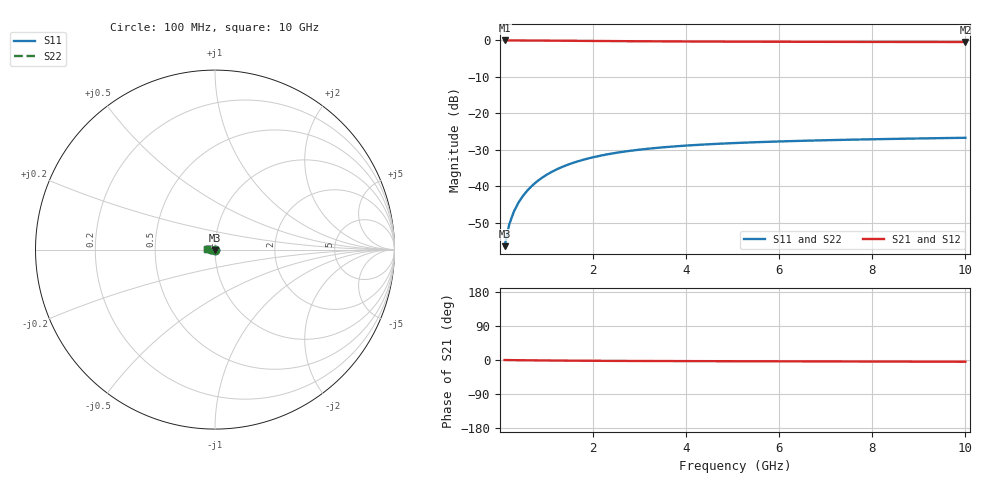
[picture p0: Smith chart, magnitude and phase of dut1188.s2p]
! Touchstone file exported from HFSS 2024.1.0
!  File:  C:/UserFiles/LocalFiles/RDL_TSV_Batchsim/temp_TSV1_1188_1780075376.aedt
!  Generated:  01:29:43 AM May 30, 2026
!  Design:  TSV1
!  Project:  temp_TSV1_1188_1780075376
!  Setup:  Setup1
!  Solution:  Sweep
! Variables:
!  dtsv = 12.54um
!  hbump = 3um
!  htsv = 69.47um
!  lrdl = 252.1521522um
!  p = 40
!  p1 = 57.74um
!  t = 500um
!  trdl = 3um
!  wrdl = 24.89489489um
# GHz S MA R 50.000000
! Terminal data exported
! Port[1] = TSV22_T1
! Port[2] = TSV22_T2
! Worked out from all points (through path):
!   100 points, 100 MHz to 10 GHz, reference 50 ohm
!   highest |S21| = 0.00 dB at 100 MHz (marker M1); lowest = -0.4 dB at 10 GHz (marker M2)
!   lowest |S11| = -56.4 dB at 100 MHz (marker M3), VSWR 1.00, Z = 50 - j0.151 ohm
!   |S11| at or under -10 dB: start of sweep to end of sweep
!   |S22| runs from -56.4 to -26.7 dB; largest |S21 - S12| = 5.7e-15
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0.1  0.001515 -89.0  0.9999 -0.1  0.9999 -0.1  0.001515 -89.0
! Gamma 0 0 0 0
! Port Impedance 50 0 50 0
0.2  0.003024 -92.7  0.9997 -0.3  0.9997 -0.3  0.003024 -92.7
0.3  0.004528 -95.3  0.9994 -0.4  0.9994 -0.4  0.004528 -95.3
0.4  0.006018 -97.7  0.999 -0.5  0.999 -0.5  0.006018 -97.7
0.5  0.007489 -100.0  0.9984 -0.7  0.9984 -0.7  0.007489 -100.0
0.6  0.008935 -102.2  0.9978 -0.8  0.9978 -0.8  0.008935 -102.2
0.7  0.01035 -104.4  0.9972 -0.9  0.9972 -0.9  0.01035 -104.4
0.8  0.01173 -106.5  0.9964 -1.0  0.9964 -1.0  0.01173 -106.5
0.9  0.01308 -108.6  0.9956 -1.1  0.9956 -1.1  0.01308 -108.6
1.1  0.01564 -112.6  0.9938 -1.4  0.9938 -1.4  0.01564 -112.6
1.4  0.01917 -118.2  0.9907 -1.6  0.9907 -1.6  0.01917 -118.2
1.6  0.0213 -121.7  0.9886 -1.8  0.9886 -1.8  0.0213 -121.7
1.8  0.02325 -125.1  0.9865 -2.0  0.9865 -2.0  0.02325 -125.1
2.1  0.02587 -129.7  0.9834 -2.2  0.9834 -2.2  0.02587 -129.7
2.5  0.02884 -135.2  0.9794 -2.4  0.9794 -2.4  0.02884 -135.2
2.9  0.03131 -140.1  0.9759 -2.6  0.9759 -2.6  0.03131 -140.1
3.4  0.03382 -145.5  0.972 -2.7  0.972 -2.7  0.03382 -145.5
4.2  0.03688 -152.8  0.967 -3.0  0.967 -3.0  0.03688 -152.8
5.1  0.03938 -159.6  0.9628 -3.2  0.9628 -3.2  0.03938 -159.6
6.7  0.04244 -169.1  0.9577 -3.7  0.9577 -3.7  0.04244 -169.1
8.4  0.04468 -177.1  0.9543 -4.1  0.9543 -4.1  0.04468 -177.1
10  0.04635 176.7  0.9522 -4.6  0.9522 -4.6  0.04635 176.7
